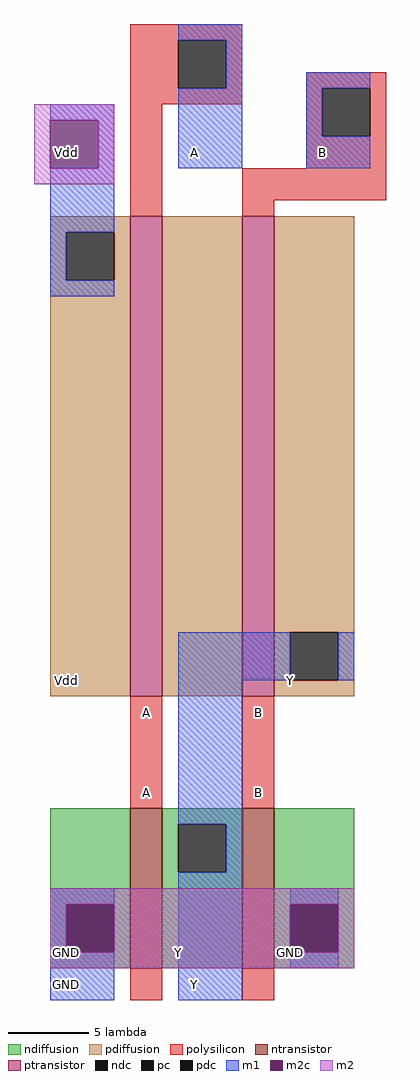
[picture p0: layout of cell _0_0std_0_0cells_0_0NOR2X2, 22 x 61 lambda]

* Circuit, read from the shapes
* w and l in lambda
.subckt _0_0std_0_0cells_0_0NOR2X2 A B GND Vdd Y
M1 Y A GND VSUBS nfet w=10 l=2
M2 GND B Y VSUBS nfet w=10 l=2
M3 n1 A Vdd NWELL pfet w=30 l=2
M4 Y B n1 NWELL pfet w=30 l=2
.ends

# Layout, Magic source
magic
tech sky130l
<< ndiffusion >>
rect 8 10 13 16
rect 8 7 9 10
rect 12 7 13 10
rect 8 6 13 7
rect 15 15 20 16
rect 15 12 16 15
rect 19 12 20 15
rect 15 6 20 12
rect 22 10 27 16
rect 22 7 23 10
rect 26 7 27 10
rect 22 6 27 7
<< ndc >>
rect 9 7 12 10
rect 16 12 19 15
rect 23 7 26 10
<< ntransistor >>
rect 13 6 15 16
rect 20 6 22 16
<< pdiffusion >>
rect 8 52 13 53
rect 8 49 9 52
rect 12 49 13 52
rect 8 23 13 49
rect 15 23 20 53
rect 22 27 27 53
rect 22 24 23 27
rect 26 24 27 27
rect 22 23 27 24
<< pdc >>
rect 9 49 12 52
rect 23 24 26 27
<< ptransistor >>
rect 13 23 15 53
rect 20 23 22 53
<< polysilicon >>
rect 13 64 20 65
rect 13 61 16 64
rect 19 61 20 64
rect 13 60 20 61
rect 24 61 29 62
rect 13 53 15 60
rect 24 58 25 61
rect 28 58 29 61
rect 24 56 29 58
rect 20 54 29 56
rect 20 53 22 54
rect 13 16 15 23
rect 20 16 22 23
rect 13 4 15 6
rect 20 4 22 6
<< pc >>
rect 16 61 19 64
rect 25 58 28 61
<< m1 >>
rect 16 64 20 65
rect 19 61 20 64
rect 8 59 12 60
rect 11 56 12 59
rect 16 56 20 61
rect 24 61 28 62
rect 24 58 25 61
rect 24 56 28 58
rect 8 52 12 56
rect 8 49 9 52
rect 8 48 12 49
rect 16 24 23 27
rect 26 24 27 27
rect 16 15 20 24
rect 19 12 20 15
rect 8 10 12 11
rect 8 7 9 10
rect 8 4 12 7
rect 16 4 20 12
rect 23 10 26 11
rect 23 6 26 7
<< m2c >>
rect 8 56 11 59
rect 9 7 12 10
rect 23 7 26 10
<< m2 >>
rect 7 59 12 60
rect 7 56 8 59
rect 11 56 12 59
rect 7 55 12 56
rect 8 10 27 11
rect 8 7 9 10
rect 12 7 23 10
rect 26 7 27 10
rect 8 6 27 7
<< labels >>
rlabel ndiffusion 23 7 23 7 3 GND
rlabel pdiffusion 23 24 23 24 3 Y
rlabel polysilicon 21 17 21 17 3 B
rlabel polysilicon 21 22 21 22 3 B
rlabel ndiffusion 16 7 16 7 3 Y
rlabel polysilicon 14 17 14 17 3 A
rlabel polysilicon 14 22 14 22 3 A
rlabel pdiffusion 9 24 9 24 3 Vdd
rlabel m1 9 5 9 5 3 GND
rlabel m2 9 7 9 7 3 GND
rlabel m1 17 5 17 5 3 Y
rlabel m1 17 57 17 57 3 A
rlabel m1 25 57 25 57 3 B
rlabel m2c 9 57 9 57 3 Vdd
<< end >>
